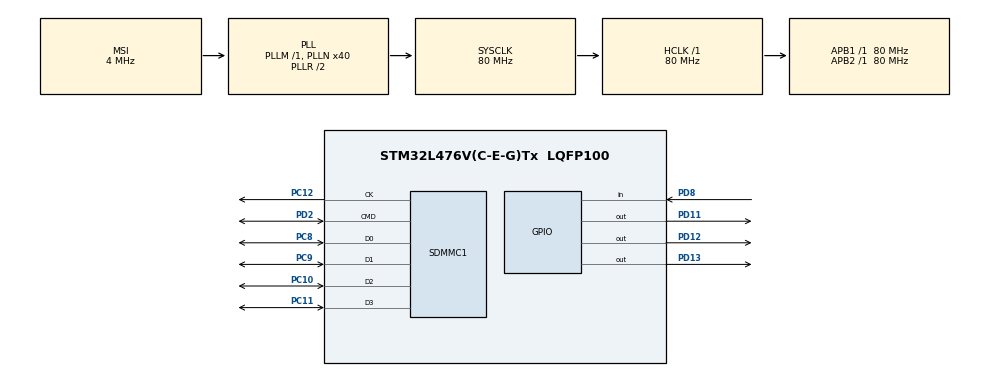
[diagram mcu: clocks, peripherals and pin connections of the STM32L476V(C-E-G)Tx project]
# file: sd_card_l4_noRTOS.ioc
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Dma.Request0=SDMMC1
Dma.SDMMC1.0.Direction=DMA_PERIPH_TO_MEMORY
Dma.SDMMC1.0.Instance=DMA2_Channel4
Dma.SDMMC1.0.MemDataAlignment=DMA_MDATAALIGN_WORD
Dma.SDMMC1.0.MemInc=DMA_MINC_ENABLE
Dma.SDMMC1.0.Mode=DMA_NORMAL
Dma.SDMMC1.0.PeriphDataAlignment=DMA_PDATAALIGN_WORD
Dma.SDMMC1.0.PeriphInc=DMA_PINC_DISABLE
Dma.SDMMC1.0.Priority=DMA_PRIORITY_VERY_HIGH
FATFS.BSP.number=1
FATFS.USE_DMA_CODE_SD=1
FATFS._MAX_SS=4096
FATFS0.BSP.STBoard=false
FATFS0.BSP.api=Unknown
FATFS0.BSP.i2caddr=0
FATFS0.BSP.instance=PD8
FATFS0.BSP.ip=GPIO
FATFS0.BSP.mode=Input
FATFS0.BSP.name=Detect_SDIO
FATFS0.BSP.solution=PD8
Mcu.Family=STM32L4
Mcu.Name=STM32L476V(C-E-G)Tx
Mcu.Package=LQFP100
NVIC.DMA2_Channel4_IRQn=true\:0\:0\:false\:false\:true\:false\:true
NVIC.PriorityGroup=NVIC_PRIORITYGROUP_4
NVIC.SDMMC1_IRQn=true\:0\:0\:false\:false\:true\:true\:true
PC10.GPIO_Mode=GPIO_MODE_AF_PP
PC10.GPIO_PuPd=GPIO_PULLUP
PC10.GPIO_Speed_High_Default=GPIO_SPEED_FREQ_VERY_HIGH
PC10.Mode=SD_4_bits_Wide_bus
PC10.Signal=SDMMC1_D2
PC11.GPIO_Mode=GPIO_MODE_AF_PP
PC11.GPIO_PuPd=GPIO_PULLUP
PC11.GPIO_Speed_High_Default=GPIO_SPEED_FREQ_VERY_HIGH
PC11.Mode=SD_4_bits_Wide_bus
PC11.Signal=SDMMC1_D3
PC12.Mode=SD_4_bits_Wide_bus
PC12.Signal=SDMMC1_CK
PC8.GPIO_Mode=GPIO_MODE_AF_PP
PC8.GPIO_PuPd=GPIO_PULLUP
PC8.GPIO_Speed_High_Default=GPIO_SPEED_FREQ_VERY_HIGH
PC8.Mode=SD_4_bits_Wide_bus
PC8.Signal=SDMMC1_D0
PC9.GPIO_Mode=GPIO_MODE_AF_PP
PC9.GPIO_PuPd=GPIO_PULLUP
PC9.GPIO_Speed_High_Default=GPIO_SPEED_FREQ_VERY_HIGH
PC9.Mode=SD_4_bits_Wide_bus
PC9.Signal=SDMMC1_D1
PD11.Signal=GPIO_Output
PD12.Signal=GPIO_Output
PD13.Signal=GPIO_Output
PD2.GPIO_Mode=GPIO_MODE_AF_PP
PD2.GPIO_PuPd=GPIO_PULLUP
PD2.GPIO_Speed_High_Default=GPIO_SPEED_FREQ_VERY_HIGH
PD2.Mode=SD_4_bits_Wide_bus
PD2.Signal=SDMMC1_CMD
PD8.Signal=GPIO_Input
ProjectManager.HeapSize=0x2000
ProjectManager.StackSize=0x4000
ProjectManager.TargetToolchain=STM32CubeIDE
RCC.ADCFreq_Value=32000000
RCC.AHBFreq_Value=80000000
RCC.APB1Freq_Value=80000000
RCC.APB1TimFreq_Value=80000000
RCC.APB2Freq_Value=80000000
RCC.APB2TimFreq_Value=80000000
RCC.CortexFreq_Value=80000000
RCC.HCLKFreq_Value=80000000
RCC.HSE_VALUE=8000000
RCC.HSI_VALUE=16000000
RCC.LSE_VALUE=32768
RCC.MSI_VALUE=4000000
RCC.PLLN=40
RCC.PLLSAI1N=16
RCC.SYSCLKFreq_VALUE=80000000
RCC.SYSCLKSource=RCC_SYSCLKSOURCE_PLLCLK
RCC.USBFreq_Value=32000000
RCC.VCOOutputFreq_Value=160000000
SDMMC1.ClockDiv=6
SDMMC1.HardwareFlowControl=SDMMC_HARDWARE_FLOW_CONTROL_ENABLE
VP_FATFS_VS_SDIO.Mode=SDIO
board=custom

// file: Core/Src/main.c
/* USER CODE BEGIN Header */
/**
  ******************************************************************************
  * @file           : main.c
  * @brief          : Main program body
  ******************************************************************************
  * @attention
  *
  * <h2><center>&copy; Copyright (c) 2021 STMicroelectronics.
  * All rights reserved.</center></h2>
  *
  * This software component is licensed by ST under BSD 3-Clause license,
  * the "License"; You may not use this file except in compliance with the
  * License. You may obtain a copy of the License at:
  *                        opensource.org/licenses/BSD-3-Clause
  *
  ******************************************************************************
  */
/* USER CODE END Header */

#include "main.h"
#include "dma.h"
#include "fatfs.h"
#include "sdmmc.h"
#include "gpio.h"

/* USER CODE BEGIN Includes */
#include "bsp_driver_sd.h"
/* USER CODE END Includes */

/* USER CODE BEGIN PV */
extern uint8_t retSD; /* Return value for SD */
extern char SDPath[4]; /* SD logical drive path */
extern FATFS SDFatFS; /* File system object for SD logical drive */
extern FIL SDFile; /* File object for SD */
uint8_t filename[] = "TEST.csv";
uint8_t wrtext1[] = "x,y,z,arsnr,mse\n";
uint8_t wrtext2[] = "0x2245, 0x2345, 0x4526, 0.012, 0.09 \n";
uint8_t wrtext3[] = "0x2265, 0x2315, 0x4527, 0.132, 0.1 \n";
UINT byteswrite;
int cnt = 0U;
/* USER CODE END PV */

void SystemClock_Config(void);

int main(void)
{

  /* MCU Configuration--------------------------------------------------------*/

  /* Reset of all peripherals, Initializes the Flash interface and the Systick. */
  HAL_Init();

  /* Configure the system clock */
  SystemClock_Config();

  /* Initialize all configured peripherals */
  MX_GPIO_Init();
  MX_DMA_Init();
  MX_SDMMC1_SD_Init();
  MX_FATFS_Init();
  /* USER CODE BEGIN 2 */
  f_mount(&SDFatFS, SDPath, 0);

  for (int i =0 ; i <3; i++)
  {

	  	  	  if (i == 0)
	  	  	  {
	  	  		f_open(&SDFile, (const TCHAR*)filename , FA_CREATE_ALWAYS | FA_WRITE) ;
	  	  		  f_write(&SDFile, wrtext1, sizeof(wrtext1), (void *)byteswrite);
	  	  		  f_close(&SDFile);

	  	  	  }
	  	  	  else if (i == 1)
	  	  	  {
	  	  		  f_open(&SDFile, (const TCHAR*)filename , FA_OPEN_APPEND | FA_WRITE) ;
	  	  		  f_lseek(&SDFile, f_size(&SDFile));
	  	  		  f_write(&SDFile, wrtext2, sizeof(wrtext2), (void *)byteswrite);
	  	  		f_close(&SDFile);
	  	  	  }
	  	  	else if (i == 2)
	  	  		  	  	  {
	  	  					 f_open(&SDFile, (const TCHAR*)filename , FA_OPEN_APPEND | FA_WRITE) ;
	  	  		  	  		  f_lseek(&SDFile, f_size(&SDFile));
	  	  		  	  		  f_write(&SDFile, wrtext3, sizeof(wrtext3), (void *)byteswrite);
	  	  		  	  	f_close(&SDFile);
	  	  		  	  	  }
	  	  	  HAL_GPIO_WritePin(GPIOD, GPIO_PIN_11, SET);

  }

  /* USER CODE END 2 */

  /* Infinite loop */
  while (1)
  {

  }
}

void SystemClock_Config(void)
{
  RCC_OscInitTypeDef RCC_OscInitStruct = {0};
  RCC_ClkInitTypeDef RCC_ClkInitStruct = {0};
  RCC_PeriphCLKInitTypeDef PeriphClkInit = {0};

  /** Initializes the CPU, AHB and APB busses clocks
  */
  RCC_OscInitStruct.OscillatorType = RCC_OSCILLATORTYPE_MSI;
  RCC_OscInitStruct.MSIState = RCC_MSI_ON;
  RCC_OscInitStruct.MSICalibrationValue = 0;
  RCC_OscInitStruct.MSIClockRange = RCC_MSIRANGE_6;
  RCC_OscInitStruct.PLL.PLLState = RCC_PLL_ON;
  RCC_OscInitStruct.PLL.PLLSource = RCC_PLLSOURCE_MSI;
  RCC_OscInitStruct.PLL.PLLM = 1;
  RCC_OscInitStruct.PLL.PLLN = 40;
  RCC_OscInitStruct.PLL.PLLP = RCC_PLLP_DIV7;
  RCC_OscInitStruct.PLL.PLLQ = RCC_PLLQ_DIV2;
  RCC_OscInitStruct.PLL.PLLR = RCC_PLLR_DIV2;
  if (HAL_RCC_OscConfig(&RCC_OscInitStruct) != HAL_OK)
  {
    Error_Handler();
  }
  /** Initializes the CPU, AHB and APB busses clocks
  */
  RCC_ClkInitStruct.ClockType = RCC_CLOCKTYPE_HCLK|RCC_CLOCKTYPE_SYSCLK
                              |RCC_CLOCKTYPE_PCLK1|RCC_CLOCKTYPE_PCLK2;
  RCC_ClkInitStruct.SYSCLKSource = RCC_SYSCLKSOURCE_PLLCLK;
  RCC_ClkInitStruct.AHBCLKDivider = RCC_SYSCLK_DIV1;
  RCC_ClkInitStruct.APB1CLKDivider = RCC_HCLK_DIV1;
  RCC_ClkInitStruct.APB2CLKDivider = RCC_HCLK_DIV1;

  if (HAL_RCC_ClockConfig(&RCC_ClkInitStruct, FLASH_LATENCY_4) != HAL_OK)
  {
    Error_Handler();
  }
  PeriphClkInit.PeriphClockSelection = RCC_PERIPHCLK_SDMMC1;
  PeriphClkInit.Sdmmc1ClockSelection = RCC_SDMMC1CLKSOURCE_PLLSAI1;
  PeriphClkInit.PLLSAI1.PLLSAI1Source = RCC_PLLSOURCE_MSI;
  PeriphClkInit.PLLSAI1.PLLSAI1M = 1;
  PeriphClkInit.PLLSAI1.PLLSAI1N = 16;
  PeriphClkInit.PLLSAI1.PLLSAI1P = RCC_PLLP_DIV7;
  PeriphClkInit.PLLSAI1.PLLSAI1Q = RCC_PLLQ_DIV2;
  PeriphClkInit.PLLSAI1.PLLSAI1R = RCC_PLLR_DIV2;
  PeriphClkInit.PLLSAI1.PLLSAI1ClockOut = RCC_PLLSAI1_48M2CLK;
  if (HAL_RCCEx_PeriphCLKConfig(&PeriphClkInit) != HAL_OK)
  {
    Error_Handler();
  }
  /** Configure the main internal regulator output voltage
  */
  if (HAL_PWREx_ControlVoltageScaling(PWR_REGULATOR_VOLTAGE_SCALE1) != HAL_OK)
  {
    Error_Handler();
  }
}

void Error_Handler(void)
{
}

/************************ (C) COPYRIGHT STMicroelectronics *****END OF FILE****/
